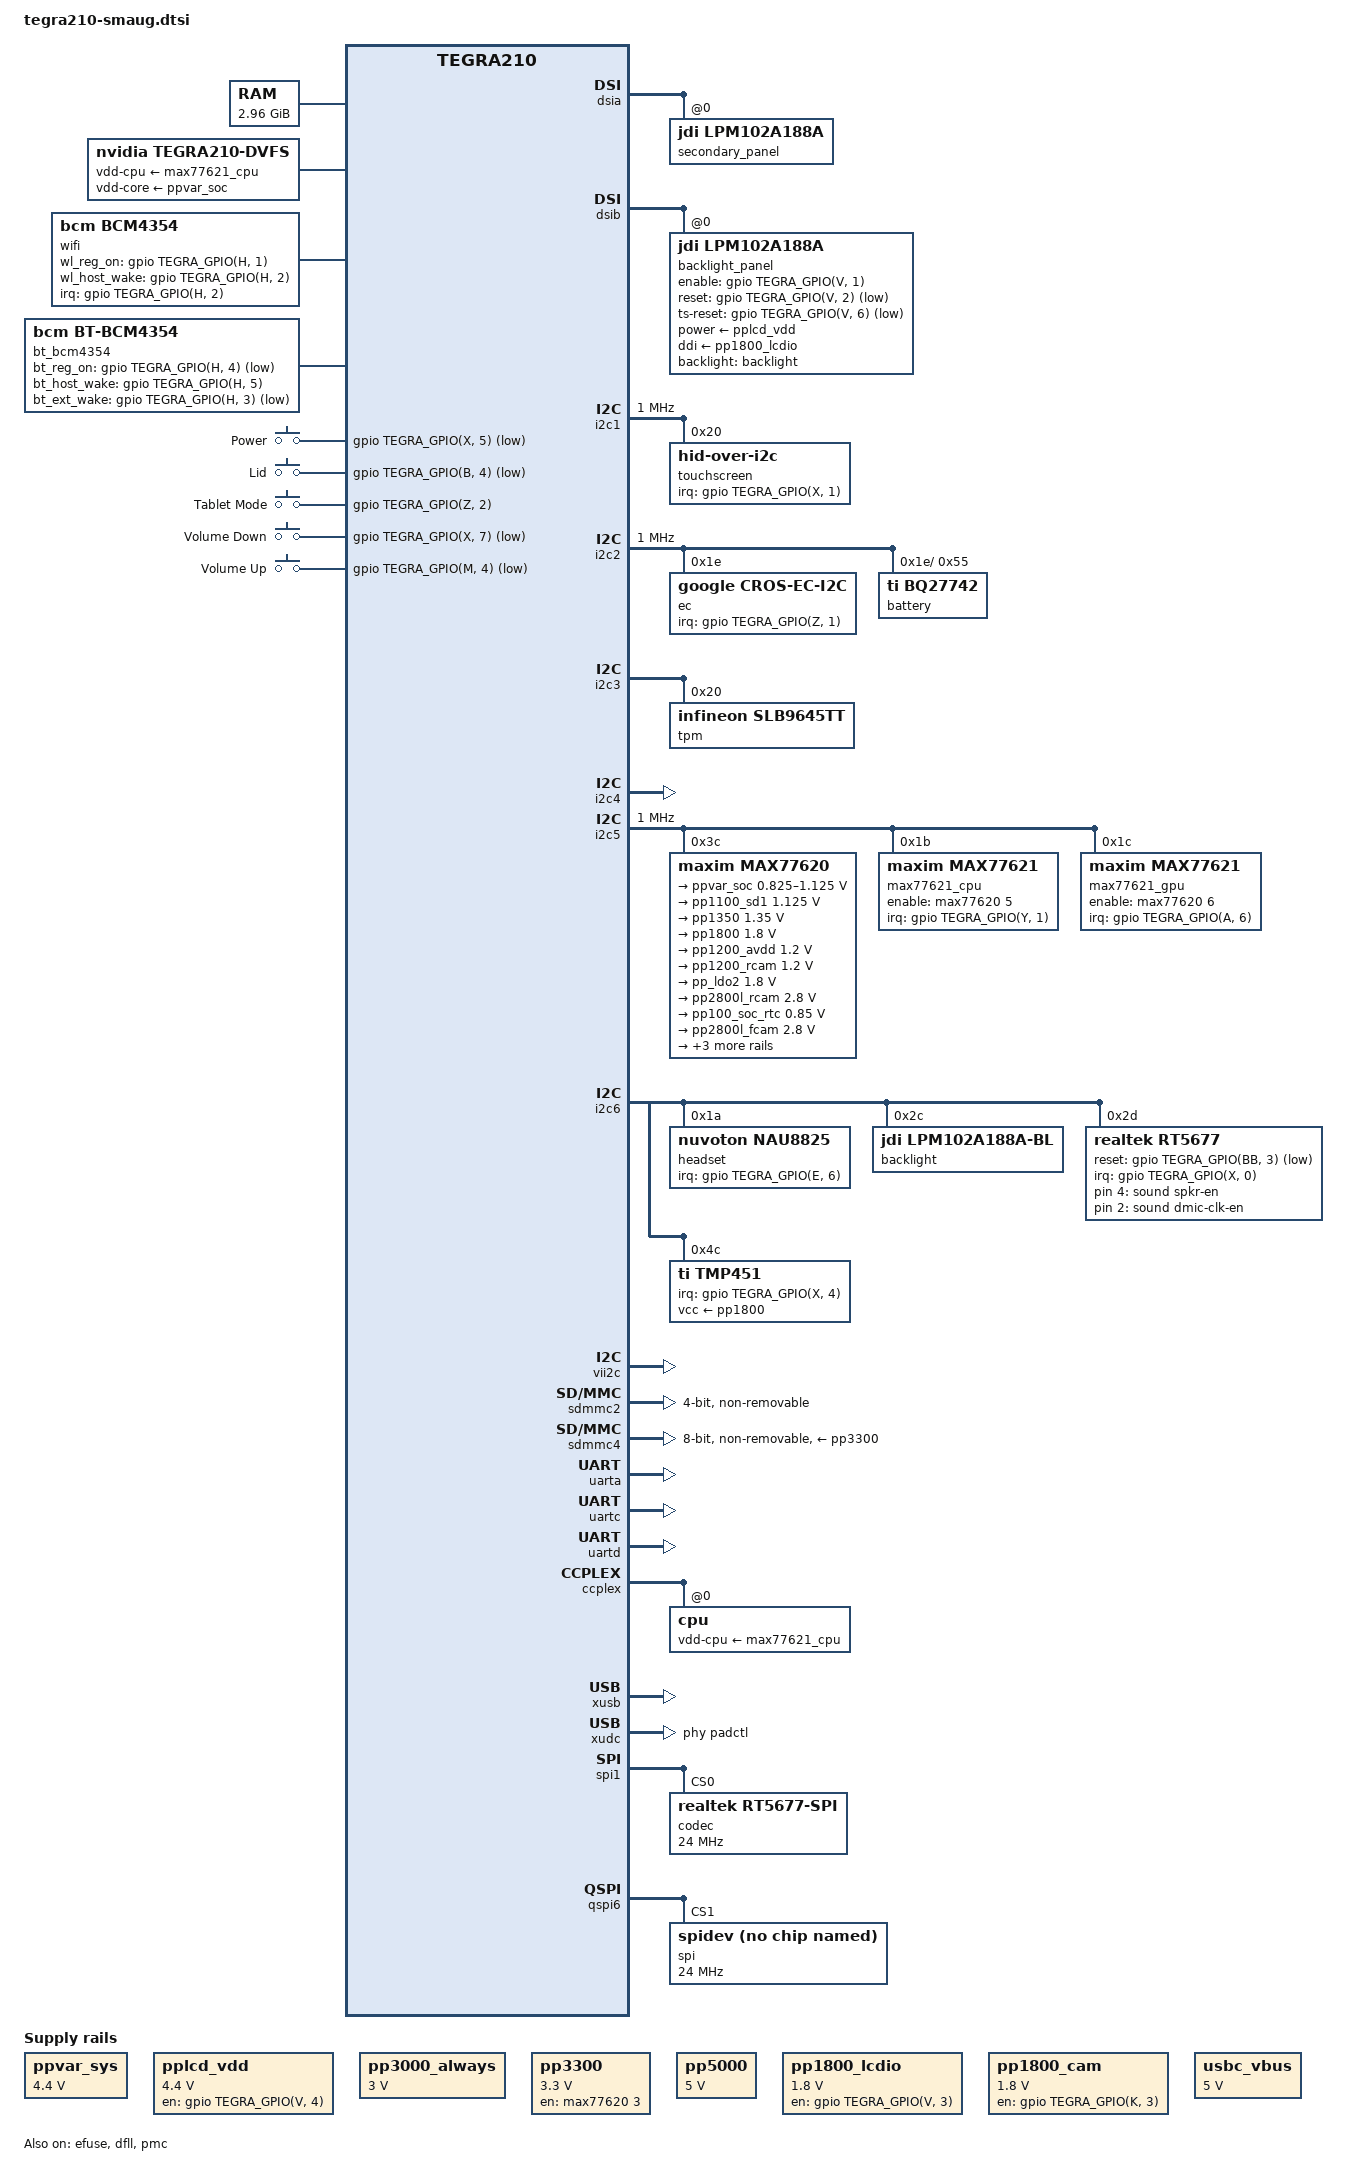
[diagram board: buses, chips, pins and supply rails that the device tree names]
#include <dt-bindings/mfd/max77620.h>
#include <dt-bindings/gpio/tegra-gpio.h>
#include <dt-bindings/pinctrl/pinctrl-tegra.h>
#include <dt-bindings/thermal/thermal.h>
#include <dt-bindings/input/input.h>
#include <dt-bindings/regulator/max8973.h>
#include <dt-bindings/soc/tegra-pmc.h>

#include "tegra210.dtsi"
#include "tegra210-audio.dtsi"
#include "tegra210-smaug-pinmux.dtsi"
#include "tegra210-smaug-sysedp.dtsi"
#include "tegra210-smaug-camera.dtsi"

/ {
	compatible = "google,smaug", "nvidia,tegra210";

        chosen {
		bootargs = "cros_legacy console= init=/init rw ignore_loglevel=1 drm.atomic=1 firmware_class.path=/vendor/firmware kern_guid=%U no_console_suspend";
	};

	memory {
		device_type = "memory";
		/* TODO: replace */
		reg = < 0x0 0x80000000 0x0 0x7d200000 >,
		      < 0x1 0x00000000 0x0 0x40000000 >;
	};

	host1x@50000000 {
		vi: vi@54080000 {
			avdd-dsi-csi-supply = <&pp1200_avdd>;
		};

		dsia: dsi@54300000 {
			status = "okay";
			avdd-dsi-csi-supply = <&pp1200_avdd>;
                        nvidia,mipi-calibrate = <&mipi 0x0c0>; /* DSIA & DSIB pads */
			#address-cells = <2>;
			#size-cells = <2>;

			secondary_panel: panel@0 {
				compatible = "jdi,lpm102a188a";
				reg = <0 0 0 0>;
			};
		};

		dsib: dsi@54400000 {
			status = "okay";
			avdd-dsi-csi-supply = <&pp1200_avdd>;
                        nvidia,mipi-calibrate = <&mipi 0x300>; /* DSIC & DSID pads */
			nvidia,ganged-mode = <&dsia>;
			#address-cells = <2>;
			#size-cells = <2>;

			backlight_panel: panel@0 {
				compatible = "jdi,lpm102a188a";
				reg = <0 0 0 0>;
				power-supply = <&pplcd_vdd>;
				ddi-supply = <&pp1800_lcdio>;
				enable-gpio = <&gpio TEGRA_GPIO(V, 1) GPIO_ACTIVE_HIGH>;
				reset-gpio = <&gpio TEGRA_GPIO(V, 2) GPIO_ACTIVE_LOW>;
				ts-reset-gpio = <&gpio TEGRA_GPIO(V, 6) GPIO_ACTIVE_LOW>;
				backlight = <&backlight>;
				slave = <&secondary_panel>;
				panel-boot-on;
				touch = <&touchscreen>;
			};
		};
	};

	gpu@57000000 {
		status = "okay";
		vdd-supply = <&max77621_gpu>;

		gpu_scaling_cdev: gpu-scaling-cdev {
			status = "okay";
		};

		gpu_balanced_cpu_cdev: gpu-balanced-cpu {
			status = "okay";
		};

		gpu_balanced_gpu_cdev: gpu-balanced-gpu {
			status = "okay";
		};

		gpu_balanced_tskin_cdev: gpu-balanced-tskin {
			status = "okay";
		};

		gpu_edp_cdev: gpu-edp-cdev {
			status = "okay";
		};
	};

	adma: adma@702e2000  {
		interrupts = <GIC_SPI INT_ADMA_EOT0 IRQ_TYPE_LEVEL_HIGH>,
			     <GIC_SPI INT_ADMA_EOT1 IRQ_TYPE_LEVEL_HIGH>,
			     <GIC_SPI INT_ADMA_EOT2 IRQ_TYPE_LEVEL_HIGH>,
			     <GIC_SPI INT_ADMA_EOT3 IRQ_TYPE_LEVEL_HIGH>,
			     <GIC_SPI INT_ADMA_EOT4 IRQ_TYPE_LEVEL_HIGH>,
			     <GIC_SPI INT_ADMA_EOT5 IRQ_TYPE_LEVEL_HIGH>,
			     <GIC_SPI INT_ADMA_EOT6 IRQ_TYPE_LEVEL_HIGH>,
			     <GIC_SPI INT_ADMA_EOT7 IRQ_TYPE_LEVEL_HIGH>,
			     <GIC_SPI INT_ADMA_EOT8 IRQ_TYPE_LEVEL_HIGH>,
			     <GIC_SPI INT_ADMA_EOT9 IRQ_TYPE_LEVEL_HIGH>;
		dma-channels = <10>;
		status = "okay";
	};

	speaker: max98357a {
		compatible = "maxim,max98357a";
		status = "okay";
	};

	sound: sound {
		compatible = "nvidia,tegra-audio-t210ref-mobile-rt5677";
		nvidia,model = "tegra-snd-t210ref-mobile-rt5677";
		nvidia,spkr-en-gpios = <&rt5677 4 GPIO_ACTIVE_HIGH>;
		nvidia,dmic-clk-en-gpios = <&rt5677 2 GPIO_ACTIVE_HIGH>;
		nvidia,num-codec-link = <1>;
		edp-consumer-name = "codec+speaker";

		clocks = <&tegra_car TEGRA210_CLK_PLL_A>,
		         <&tegra_car TEGRA210_CLK_PLL_A_OUT0>,
		         <&tegra_car TEGRA210_CLK_EXTERN1>,
		         <&tegra_car TEGRA210_CLK_CLK_OUT_1>,
		         <&tegra_car TEGRA210_CLK_EXTERN2>,
		         <&tegra_car TEGRA210_CLK_CLK_OUT_2>;
		clock-names = "pll_a", "pll_a_out0", "extern1", "clk_out_1", "extern2", "clk_out_2";

		nvidia,audio-routing =
			"Headphone Jack", "HPOL",
			"Headphone Jack", "HPOR",
			"MICBIAS",  "Mic Jack",
			"MIC", "Mic Jack",
			"DMIC L1", "Int Mic",
			"DMIC R1", "Int Mic",
			"DMIC L2", "Int Mic",
			"DMIC R2", "Int Mic",
			"Int Spk", "Speaker";

		nvidia,xbar = <&tegra_axbar>;

		nvidia,dai-link-1 {
			link-name = "rt5677-playback";
			cpu-dai = <&tegra_i2s1>;
			codec-dai = <&rt5677>;
			cpu-dai-name = "I2S1";
			codec-dai-name = "rt5677-aif1";
			tx-mask = <0xFF>;
			rx-mask = <0xFF>;
			format = "dsp_a";
			bitclock-slave;
			frame-slave;
			bitclock-noninversion;
			frame-inversion;
			bit-format = "s16_le";
			bclk_ratio = <0>;
			srate = <48000>;
			num-channel = <4>;
		};
	};

	dvfs {
		compatible = "nvidia,tegra210-dvfs";
		vdd-cpu-supply = <&max77621_cpu>;
		vdd-core-supply = <&ppvar_soc>;
	};

	wifi: wifi_bcm4354 {
		compatible = "bcm,bcm4354";
		interrupt-parent = <&gpio>;
		interrupts = <TEGRA_GPIO(H, 2) IRQ_TYPE_LEVEL_HIGH>;
		wl_reg_on = <&gpio TEGRA_GPIO(H, 1) GPIO_ACTIVE_HIGH>;
		wl_host_wake = <&gpio TEGRA_GPIO(H, 2) IRQ_TYPE_LEVEL_HIGH>;
		nvidia,pmc-wakeup = <&pmc
			PMC_WAKE_TYPE_EVENT 8 PMC_TRIGGER_TYPE_HIGH>;
	};

	bt_bcm4354 {
		compatible = "bcm,bt-bcm4354";
		bt_reg_on-gpios = <&gpio TEGRA_GPIO(H, 4) GPIO_ACTIVE_LOW>;
		bt_host_wake-gpios = <&gpio TEGRA_GPIO(H, 5) GPIO_ACTIVE_HIGH>;
		bt_ext_wake-gpios = <&gpio TEGRA_GPIO(H, 3) GPIO_ACTIVE_LOW>;
		nvidia,pmc-wakeup = <&pmc
				PMC_WAKE_TYPE_EVENT 52 PMC_TRIGGER_TYPE_HIGH>;
	};

	gpio-keys {
		compatible = "gpio-keys";
		gpio-keys,name = "gpio-keys";

		power {
			label = "Power";
			gpios = <&gpio TEGRA_GPIO(X, 5) GPIO_ACTIVE_LOW>;
			linux,code = <KEY_POWER>;
			debounce-interval = <30>;
			gpio-key,wakeup;
			nvidia,pmc-wakeup = <&pmc
				PMC_WAKE_TYPE_GPIO 24 PMC_TRIGGER_TYPE_NONE>;
		};

		lid {
			label = "Lid";
			gpios = <&gpio TEGRA_GPIO(B, 4) GPIO_ACTIVE_LOW>;
			linux,input-type = <5>; /* EV_SW */
			linux,code = <0>; /* SW_LID */
			gpio-key,wakeup;
			nvidia,pmc-wakeup = <&pmc
				PMC_WAKE_TYPE_GPIO 3 PMC_TRIGGER_TYPE_NONE>;
		};

		tablet_mode {
			label = "Tablet Mode";
			gpios = <&gpio TEGRA_GPIO(Z, 2) GPIO_ACTIVE_HIGH>;
			linux,input-type = <5>; /* EV_SW */
			linux,code = <1>; /* SW_TABLET_MODE */
			gpio-key,wakeup;
			nvidia,pmc-wakeup = <&pmc
				PMC_WAKE_TYPE_GPIO 36 PMC_TRIGGER_TYPE_NONE>;
		};

		volume_down {
			label = "Volume Down";
			gpios = <&gpio TEGRA_GPIO(X, 7) GPIO_ACTIVE_LOW>;
			linux,code = <KEY_VOLUMEDOWN>;
		};

		volume_up {
			label = "Volume Up";
			gpios = <&gpio TEGRA_GPIO(M, 4) GPIO_ACTIVE_LOW>;
			linux,code = <KEY_VOLUMEUP>;
		};
	};

	regulators {
		compatible = "simple-bus";
		device_type = "fixed-regulators";
		#address-cells = <1>;
		#size-cells = <0>;

		ppvar_sys: regulator@0 {
			compatible = "regulator-fixed";
			reg = <0>;
			regulator-name = "PPVAR_SYS";
			regulator-min-microvolt = <4400000>;
			regulator-max-microvolt = <4400000>;
			regulator-always-on;
		};

		pplcd_vdd: regulator@1 {
			compatible = "regulator-fixed";
			reg = <1>;
			regulator-name = "PPLCD_VDD";
			regulator-min-microvolt = <4400000>;
			regulator-max-microvolt = <4400000>;
			gpio = <&gpio TEGRA_GPIO(V, 4) 0>;
			enable-active-high;
			regulator-boot-on;
		};

		pp3000_always: regulator@2 {
			compatible = "regulator-fixed";
			reg = <2>;
			regulator-name = "PP3000_ALWAYS";
			regulator-min-microvolt = <3000000>;
			regulator-max-microvolt = <3000000>;
			regulator-always-on;
		};

		pp3300: regulator@3 {
			compatible = "regulator-fixed";
			reg = <3>;
			regulator-name = "PP3300";
			regulator-min-microvolt = <3300000>;
			regulator-max-microvolt = <3300000>;
			regulator-boot-on;
			regulator-always-on;
			gpio = <&max77620 3 0>;
			enable-active-high;
		};

		pp5000: regulator@4 {
			compatible = "regulator-fixed";
			reg = <4>;
			regulator-name = "PP5000";
			regulator-min-microvolt = <5000000>;
			regulator-max-microvolt = <5000000>;
			regulator-always-on;
		};

		pp1800_lcdio: regulator@5 {
			compatible = "regulator-fixed";
			reg = <5>;
			regulator-name = "PP1800_LCDIO";
			regulator-min-microvolt = <1800000>;
			regulator-max-microvolt = <1800000>;
			gpio = <&gpio TEGRA_GPIO(V, 3) 0>;
			enable-active-high;
			regulator-boot-on;
		};

		pp1800_cam: regulator@6 {
			compatible = "regulator-fixed";
			reg= <6>;
			regulator-name = "PP1800_CAM";
			regulator-min-microvolt = <1800000>;
			regulator-max-microvolt = <1800000>;
			gpio = <&gpio TEGRA_GPIO(K, 3) 0>;
			enable-active-high;
		};

		usbc_vbus: regulator@7 {
			compatible = "regulator-fixed";
			reg = <7>;
			regulator-name = "USBC_VBUS";
			regulator-min-microvolt = <5000000>;
			regulator-max-microvolt = <5000000>;
		};
	};

	cpu_edp: cpu-edp {
		nvidia,edp-limit = <16000>;
	};

	gpu_edp: gpu-edp {
		nvidia,edp-limit = <16000>;
	};

	thermal-zones {
		cpu {
			trips {
				balanced_cpu_trip0: balanced_cpu_trip {
					temperature = <89000>;
					hysteresis = <1000>;
					type = "passive";
				};
			};

			cooling-maps {
				balanced_cpu_map0 {
					trip = <&balanced_cpu_trip0>;
					cooling-device = <&balanced_cpu THERMAL_NO_LIMIT THERMAL_NO_LIMIT>;
				};

				balanced_cpu_map1 {
					trip = <&balanced_cpu_trip0>;
					cooling-device = <&gpu_balanced_cpu_cdev THERMAL_NO_LIMIT THERMAL_NO_LIMIT>;
				};
			};
		};

		gpu {
			trips {
				balanced_gpu_trip0: balanced_gpu_trip {
					temperature = <90000>;
					hysteresis = <1000>;
					type = "passive";
				};

				/* trips for gpu DVFS voltage scaling */
				gpu_scaling_trip0: gpu_scaling_trip0 {
					temperature = <TEGRA210_GPU_DVFS_THERMAL_TRIP_0>; /* millicelsius */
					hysteresis = <1000>; /* millicelsius */
					type = "active";
				};
				gpu_scaling_trip1: gpu_scaling_trip1 {
					temperature = <TEGRA210_GPU_DVFS_THERMAL_TRIP_1>; /* millicelsius */
					hysteresis = <1000>; /* millicelsius */
					type = "active";
				};
				gpu_scaling_trip2: gpu_scaling_trip2 {
					temperature = <TEGRA210_GPU_DVFS_THERMAL_TRIP_2>; /* millicelsius */
					hysteresis = <1000>; /* millicelsius */
					type = "active";
				};
				gpu_scaling_trip3: gpu_scaling_trip3 {
					temperature = <TEGRA210_GPU_DVFS_THERMAL_TRIP_3>; /* millicelsius */
					hysteresis = <1000>; /* millicelsius */
					type = "active";
				};
			};

			cooling-maps {
				balanced_gpu_map0 {
					trip = <&balanced_gpu_trip0>;
					cooling-device = <&balanced_gpu THERMAL_NO_LIMIT THERMAL_NO_LIMIT>;
				};

				balanced_gpu_map1 {
					trip = <&balanced_gpu_trip0>;
					cooling-device = <&gpu_balanced_gpu_cdev THERMAL_NO_LIMIT THERMAL_NO_LIMIT>;
				};

				/* cooling maps for gpu DVFS voltage scaling */
				gpu_scaling_map0 {
					trip = <&gpu_scaling_trip0>;
					cooling-device = <&gpu_scaling_cdev 1 1>;
				};
				gpu_scaling_map1 {
					trip = <&gpu_scaling_trip1>;
					cooling-device = <&gpu_scaling_cdev 2 2>;
				};
				gpu_scaling_map2 {
					trip = <&gpu_scaling_trip2>;
					cooling-device = <&gpu_scaling_cdev 3 3>;
				};
				gpu_scaling_map3 {
					trip = <&gpu_scaling_trip3>;
					cooling-device = <&gpu_scaling_cdev 4 4>;
				};
			};
		};
	};

	soctherm: soctherm@0,700e2000 {
		throttle-cfgs {
			/* Voltage compartor NCS2202 connect to OC1 */
			oc1 {
				alarm-filter = <5100000>;
				alarm-cnt-threshold = <100>;
				polarity = <1>; /* ACTIVE_LOW */
				priority = <70>;
				cpu-throt-depth = <75>;
				gpu-throt-level = <TEGRA_SOCTHERM_THROT_LEVEL_MED>;
			};
		};
	};

	skin_temp: therm-est {
		compatible = "nvidia,tegra124-therm-est";
		toffset = <(-1832)>;
		polling-period = <1100>;

		#thermal-sensor-cells = <0>;

		status = "okay";

		sub-devs {
			dev@0 {
				dev = <&diode_thermal_sensor>;
				coeffs = <6 0 (-1) 0 0 (-1) (-1) 0 0 (-1) 0 (-1) (-2) 0 1 2 1 3 1 (-18)>;
			};

			dev@1 {
				dev = <&board_thermal_sensor>;
				coeffs = <23 12 3 1 3 2 2 (-1) 0 0 (-1) (-2) 2 1 (-1) (-4) (-5) (-6) 9 83>;
			};
		};
	};

	thermal-zones {
		board_thermal_sensor: tmp451-local {
			polling-delay-passive = <2000>; /* milliseconds */
			polling-delay = <0>; /* milliseconds */

			thermal-sensors = <&tmp451 0>;
		};

		diode_thermal_sensor: tmp451-remote {
			polling-delay-passive = <1000>; /* milliseconds */
			polling-delay = <0>; /* milliseconds */

			thermal-sensors = <&tmp451 1>;
		};

		skin-therm {
			polling-delay-passive = <6000>; /* milliseconds */
			polling-delay = <0>; /* milliseconds */

			thermal-sensors = <&skin_temp>;

			trips {
				balanced_tskin_trip: balanced_tskin_trip {
					temperature = <43000>;
					hysteresis = <1000>;
					type = "passive";
				};
			};

			cooling-maps {
				balanced_tskin_map0 {
					trip = <&balanced_tskin_trip>;
					cooling-device = <&balanced_tskin THERMAL_NO_LIMIT THERMAL_NO_LIMIT>;
				};

				balanced_tskin_map1 {
					trip = <&balanced_tskin_trip>;
					cooling-device = <&gpu_balanced_tskin_cdev THERMAL_NO_LIMIT THERMAL_NO_LIMIT>;
				};
			};
		};

		max77621-cpu {
			polling-delay-passive = <0>; /* milliseconds */
			polling-delay = <0>; /* milliseconds */

			thermal-sensors = <&max77621_cpu>;
		};

		max77621-gpu {
			polling-delay-passive = <0>; /* milliseconds */
			polling-delay = <0>; /* milliseconds */

			thermal-sensors = <&max77621_gpu>;
		};
	};

	tlk {
		compatible = "nvidia,trusted-little-kernel";
		logger = "enabled";
		storage = "enabled";
	};

	ion-tegra {
		compatible = "nvidia,tegra210-ion-heaps";
	};

	balanced_tskin: balanced_tskin {
		compatible = "nvidia,balanced-throttle";
		clocks = <&tegra_car TEGRA210_CLK_CAP_THROTTLE_C3BUS>,
			 <&tegra_car TEGRA210_CLK_CAP_THROTTLE_SCLK>,
			 <&tegra_car TEGRA210_CLK_CAP_THROTTLE_EMC>;
		clock-names = "cap.throttle.c3bus", "cap.throttle.sclk", "cap.throttle.emc";

		balanced-states = <&t210_tskin_throttling_state>;

		#cooling-cells = <2>; /* min followed by max */
	};
};

// GEN1_I2C
&i2c1 {
	status = "okay";
	clock-frequency = <1000000>;

	touchscreen: i2c-hid-dev@20 {
		compatible = "hid-over-i2c";
		reg = <0x20>;
		status = "okay";
		hid-descr-addr = <0x0020>;
		interrupt-parent = <&gpio>;
		interrupts = <TEGRA_GPIO(X, 1) IRQ_TYPE_EDGE_FALLING>;
	};
};

// GEN2_I2C
&i2c2 {
	status = "okay";
	clock-frequency = <1000000>;

	ec@1e {
		compatible = "google,cros-ec-i2c";
		reg = <0x1e>;
		interrupt-parent = <&gpio>;
		interrupts = <TEGRA_GPIO(Z, 1) IRQ_TYPE_LEVEL_LOW>;
		wakeup-source;
		nvidia,pmc-wakeup = <&pmc
				PMC_WAKE_TYPE_EVENT 35 PMC_TRIGGER_TYPE_LOW>;

		ec_i2c_0: i2c-tunnel {
			compatible = "google,cros-ec-i2c-tunnel";
			#address-cells = <1>;
			#size-cells = <0>;

			google,remote-bus = <0>;

			battery: bq27742@55 {
				compatible = "ti,bq27742";
				reg = <0x55>;
				battery-name = "battery";
			};
		};

		usbc_extcon: extcon {
			compatible = "google,extcon-cros-ec";

			#extcon-cells = <0>;
		};

		pdupdate {
			compatible = "google,cros-ec-pd-update";
		};
	};
};

// GEN3_I2C
&i2c3 {
	status = "okay";

	tpm@20 {
		compatible = "infineon,slb9645tt";
		reg = <0x20>;
		powered-while-suspended;
		status = "okay";
	};
};

&i2c4 {
	status = "okay";
};

// PWR_I2C, I2CPMU
&i2c5 {
	status = "okay";
	clock-frequency = <1000000>;

	max77620: max77620@3c {
		compatible = "maxim,max77620";
		reg = <0x3c>;
		interrupts = <0 86 IRQ_TYPE_NONE>;
		nvidia,pmc-wakeup = <&pmc
				PMC_WAKE_TYPE_EVENT 51 PMC_TRIGGER_TYPE_LOW>;

		#interrupt-cells = <2>;
		interrupt-controller;

		gpio-controller;
		#gpio-cells = <2>;

		maxim,enable-clock32k-out;
		maxim,system-pmic-power-off;

		maxim,hot-die-threshold-temp = <110000>;
		#thermal-sensor-cells = <0>;

		pinctrl-names = "default";
		pinctrl-0 = <&max77620_default>;

		maxim,lb-threshold-vol = <3000>;

		max77620_default: pinmux@0 {
			// TODO: Verify
			pin_gpio {
				pins = "gpio0", "gpio1", "gpio2", "gpio5",
				       "gpio6", "gpio7";
				function = "gpio";
			};

			/*
			 * GPIO3 is used to en_pp3300, and it is part of power
			 * sequence, So it must be sequenced up (automatically
			 * set by OTP) and down properly.
			 */
			pin_gpio3 {
				pins = "gpio3";
				function = "fps-out";
				drive-open-drain = <1>;
				maxim,fps-source = <FPS_SRC_0>;
				maxim,fps-power-up-period = <4>;
				maxim,fps-power-down-period = <2>;
			};

			pin_gpio5_6_7 {
				pins = "gpio5", "gpio6";
				function = "gpio";
				drive-push-pull = <1>;
			};

			pin_32k {
				pins = "gpio4";
				function = "32k-out1";
			};
		};

		watchdog {
			maxim,wdt-timeout = <16>;
			maxim,wdt-clear-time = <13>;
			status = "disabled";
		};

		fps {
			// TODO: Verify
			#address-cells = <1>;
			#size-cells = <0>;
			fps@0 {
				reg = <0>;
				maxim,fps-time-period = <5120>;
				maxim,fps-enable-input = <FPS_EN_SRC_EN0>;
			};

			fps@1 {
				reg = <1>;
				maxim,fps-time-period = <5120>;
				maxim,fps-enable-input = <FPS_EN_SRC_EN1>;
				maxim,enable-sleep;
			};

			fps@2 {
				reg = <2>;
				maxim,fps-enable-input = <FPS_EN_SRC_EN0>;
			};
		};

		backup-battery {
			// TODO: Verify
			maxim,backup-battery-charging-current = <100>;
			maxim,backup-battery-charging-voltage = <3000000>;
			maxim,backup-battery-output-resistor = <100>;
		};

		regulators {
			/*
			 * TODO: Verify ramps, FPS, boot-on, always-on
			 * and DVFS voltage ranges.
			 */

			in-ldo0-1-supply = <&pp1350>;
			in-ldo2-supply = <&pp3300>;
			in-ldo3-5-supply = <&pp3300>;
			in-ldo7-8-supply = <&pp1350>;

			ppvar_soc: sd0 {
				regulator-name = "PPVAR_SOC";
				regulator-min-microvolt = <825000>;
				regulator-max-microvolt = <1125000>;
				regulator-enable-ramp-delay = <146>;
				regulator-disable-ramp-delay = <4080>;
				regulator-ramp-delay = <27500>;
				regulator-ramp-delay-scale = <300>;
				regulator-always-on;
				regulator-boot-on;
				maxim,fps-source = <FPS_SRC_1>;
				maxim,fps-power-up-period = <1>;
				maxim,fps-power-down-period = <7>;
			};

			pp1100_sd1: sd1 {
				regulator-name = "PP1100";
				regulator-min-microvolt = <1125000>;
				regulator-max-microvolt = <1125000>;
				regulator-enable-ramp-delay = <130>;
				regulator-disable-ramp-delay = <145800>;
				regulator-ramp-delay = <27500>;
				regulator-ramp-delay-scale = <300>;
				regulator-always-on;
				regulator-boot-on;
				maxim,fps-source = <FPS_SRC_0>;
				maxim,fps-power-up-period = <5>;
				maxim,fps-power-down-period = <1>;
			};

			pp1350: sd2 {
				regulator-name = "PP1350";
				regulator-min-microvolt = <1350000>;
				regulator-max-microvolt = <1350000>;
				regulator-enable-ramp-delay = <176>;
				regulator-disable-ramp-delay = <32000>;
				regulator-ramp-delay = <27500>;
				regulator-ramp-delay-scale = <350>;
				regulator-always-on;
				regulator-boot-on;
				maxim,fps-source = <FPS_SRC_NONE>;
				maxim,fps-power-up-period = <2>;
				maxim,fps-power-down-period = <5>;
			};

			pp1800: sd3 {
				regulator-name = "PP1800";
				regulator-min-microvolt = <1800000>;
				regulator-max-microvolt = <1800000>;
				regulator-enable-ramp-delay = <242>;
				regulator-disable-ramp-delay = <118000>;
				regulator-ramp-delay = <27500>;
				regulator-ramp-delay-scale = <360>;
				regulator-always-on;
				regulator-boot-on;
				maxim,fps-source = <FPS_SRC_0>;
				maxim,fps-power-up-period = <3>;
				maxim,fps-power-down-period = <3>;
			};

			pp1200_avdd: ldo0 {
				regulator-name = "PP1200_AVDD";
				regulator-min-microvolt = <1200000>;
				regulator-max-microvolt = <1200000>;
				regulator-enable-ramp-delay = <26>;
				regulator-disable-ramp-delay = <626>;
				regulator-ramp-delay = <100000>;
				regulator-ramp-delay-scale = <200>;
				regulator-boot-on;
				maxim,fps-source = <FPS_SRC_NONE>;
				maxim,fps-power-up-period = <0>;
				maxim,fps-power-down-period = <7>;
			};

			pp1200_rcam: ldo1 {
				regulator-name = "PP1200_RCAM";
				regulator-min-microvolt = <1200000>;
				regulator-max-microvolt = <1200000>;
				regulator-enable-ramp-delay = <22>;
				regulator-disable-ramp-delay = <630>;
				regulator-ramp-delay = <100000>;
				regulator-ramp-delay-scale = <200>;
				maxim,fps-source = <FPS_SRC_NONE>;
				maxim,fps-power-up-period = <0>;
				maxim,fps-power-down-period = <7>;
			};

			pp_ldo2: ldo2 {
				regulator-name = "PP_LDO2";
				regulator-min-microvolt = <1800000>;
				regulator-max-microvolt = <1800000>;
				regulator-enable-ramp-delay = <62>;
				regulator-disable-ramp-delay = <650>;
				regulator-ramp-delay = <100000>;
				regulator-ramp-delay-scale = <200>;
				regulator-always-on;
				regulator-boot-on;
				maxim,fps-source = <FPS_SRC_NONE>;
				maxim,fps-power-up-period = <0>;
				maxim,fps-power-down-period = <7>;
			};

			pp2800l_rcam: ldo3 {
				regulator-name = "PP2800L_RCAM";
				regulator-min-microvolt = <2800000>;
				regulator-max-microvolt = <2800000>;
				regulator-enable-ramp-delay = <50>;
				regulator-disable-ramp-delay = <1110>;
				regulator-ramp-delay = <100000>;
				regulator-ramp-delay-scale = <200>;
				maxim,fps-source = <FPS_SRC_NONE>;
				maxim,fps-power-up-period = <0>;
				maxim,fps-power-down-period = <7>;
			};

			pp100_soc_rtc: ldo4 {
				regulator-name = "PP1100_SOC_RTC";
				regulator-min-microvolt = <850000>;
				regulator-max-microvolt = <850000>;
				regulator-enable-ramp-delay = <22>;
				regulator-disable-ramp-delay = <610>;
				regulator-ramp-delay = <100000>;
				regulator-ramp-delay-scale = <200>;
				regulator-always-on; /* Check this */
				regulator-boot-on;
				maxim,fps-source = <FPS_SRC_0>;
				maxim,fps-power-up-period = <1>;
				maxim,fps-power-down-period = <7>;
			};

			pp2800l_fcam: ldo5 {
				regulator-name = "PP2800L_FCAM";
				regulator-min-microvolt = <2800000>;
				regulator-max-microvolt = <2800000>;
				regulator-enable-ramp-delay = <62>;
				regulator-disable-ramp-delay = <640>;
				regulator-ramp-delay = <100000>;
				regulator-ramp-delay-scale = <200>;
				maxim,fps-source = <FPS_SRC_NONE>;
				maxim,fps-power-up-period = <0>;
				maxim,fps-power-down-period = <7>;
			};

			ldo6 {
				/* Unused. */
				regulator-name = "PP_LDO6";
				regulator-min-microvolt = <1800000>;
				regulator-max-microvolt = <1800000>;
				regulator-enable-ramp-delay = <36>;
				regulator-disable-ramp-delay = <674>;
				regulator-ramp-delay = <100000>;
				regulator-ramp-delay-scale = <200>;
				maxim,fps-source = <FPS_SRC_NONE>;
				maxim,fps-power-up-period = <0>;
				maxim,fps-power-down-period = <7>;
			};

			pp1050_avdd: ldo7 {
				regulator-name = "PP1050_AVDD";
				regulator-min-microvolt = <1050000>;
				regulator-max-microvolt = <1050000>;
				regulator-enable-ramp-delay = <24>;
				regulator-disable-ramp-delay = <2768>;
				regulator-ramp-delay = <100000>;
				regulator-ramp-delay-scale = <200>;
				regulator-always-on;
				regulator-boot-on;
				maxim,fps-source = <FPS_SRC_1>;
				maxim,fps-power-up-period = <3>;
				maxim,fps-power-down-period = <4>;
			};

			avddio_1v05: ldo8 {
				regulator-name = "AVDDIO_1V05";
				regulator-min-microvolt = <1050000>;
				regulator-max-microvolt = <1050000>;
				regulator-enable-ramp-delay = <22>;
				regulator-disable-ramp-delay = <1160>;
				regulator-ramp-delay = <100000>;
				regulator-ramp-delay-scale = <200>;
				regulator-boot-on;
				maxim,fps-source = <FPS_SRC_NONE>;
				maxim,fps-power-up-period = <0>;
				maxim,fps-power-down-period = <7>;
			};
		};
	};

	max77621_cpu: pmic@1b {
		compatible = "maxim,max77621";
		reg = <0x1b>;
		interrupt-parent = <&gpio>;
		interrupts = <TEGRA_GPIO(Y, 1) IRQ_TYPE_LEVEL_LOW>;
		regulator-name = "PPVAR_CPU";
		regulator-min-microvolt = <800000>;
		regulator-max-microvolt = <1231250>;
		regulator-ramp-delay = <12500>;
		maxim,externally-enable;
		maxim,enable-gpio = <&max77620 5 0>;
		maxim,dvs-default-state = <1>;
		regulator-always-on;
		maxim,enable-active-discharge;
		maxim,enable-bias-control;
		maxim,enable-etr;
		maxim,watchdog-timer-enable;
		maxim,pull-down-enable;
		maxim,inductor-value = <MAX8973_INDUCTOR_VAL_PLUS_30_PER>;

		#thermal-sensor-cells = <0>;
	};

	max77621_gpu: pmic@1c {
		compatible = "maxim,max77621";
		reg = <0x1c>;
		interrupt-parent = <&gpio>;
		interrupts = <TEGRA_GPIO(A, 6) IRQ_TYPE_LEVEL_LOW>;
		regulator-name = "PPVAR_GPU";
		regulator-min-microvolt = <840000>;
		regulator-max-microvolt = <1150000>;
		regulator-ramp-delay = <12500>;
		maxim,externally-enable;
		maxim,enable-gpio = <&max77620 6 0>;
		maxim,dvs-default-state = <1>;
		maxim,disable-etr;
		maxim,enable-active-discharge;
		maxim,enable-bias-control;
		maxim,pull-down-enable;
		maxim,watchdog-timer-enable;
		maxim,inductor-value = <MAX8973_INDUCTOR_VAL_PLUS_30_PER>;

		#thermal-sensor-cells = <0>;
	};
};

// I2C6
&i2c6 {
	status = "okay";

	headset: nau8825@1a {
		compatible = "nuvoton,nau8825";
		reg = <0x1a>;
		interrupt-parent = <&gpio>;
		interrupts = <TEGRA_GPIO(E, 6) IRQ_TYPE_LEVEL_LOW>;

		nuvoton,jkdet-enable;
		nuvoton,jkdet-polarity = <GPIO_ACTIVE_LOW>;

		nuvoton,vref-impedance = <2>;
		nuvoton,micbias-voltage = <6>;
		// Setup 4 buttons impedane according to Android specification
		nuvoton,sar-threshold-num = <4>;
		nuvoton,sar-threshold = <0xc 0x1e 0x38 0x60>;
		nuvoton,sar-hysteresis = <1>;
		nuvoton,sar-voltage = <0>;
		nuvoton,sar-compare-time = <0>;
		nuvoton,sar-sampling-time = <0>;
		nuvoton,short-key-debounce = <2>;
		nuvoton,jack-insert-debounce = <7>;
		nuvoton,jack-eject-debounce = <7>;
	};

	backlight: jdi-lpm102a188a@2c {
		compatible = "jdi,lpm102a188a-bl";
		reg = <0x2c>;
	};

	rt5677: audio-codec@2d {
		compatible = "realtek,rt5677";
		reg = <0x2d>;
		interrupts-extended = <&gpio TEGRA_GPIO(X, 0) IRQ_TYPE_LEVEL_HIGH>;
		realtek,reset-gpio = <&gpio TEGRA_GPIO(BB, 3) GPIO_ACTIVE_LOW>;
		nvidia,pmc-wakeup = <&pmc PMC_WAKE_TYPE_EVENT 61
				     PMC_TRIGGER_TYPE_HIGH>;

		// Workaround for hissing problem b/24679173
		realtek,i2s1-pulldown;

		gpio-controller;
		#gpio-cells = <2>;
		status = "ok";
	};

	tmp451: temperature-sensor@4c {
		compatible = "ti,tmp451";
		reg = <0x4c>;
		interrupt-parent = <&gpio>;
		interrupts = <TEGRA_GPIO(X, 4) IRQ_TYPE_LEVEL_LOW>;
		vcc-supply = <&pp1800>;

		#thermal-sensor-cells = <1>;
	};
};

// CAM_I2C
&vii2c {
	avdd-supply = <&pp1200_avdd>;
	status = "okay";
};

&efuse {
	status = "okay";
	vpp_fuse-supply = <&pp1800>;
};

&dfll {
	vdd-cpu-supply = <&max77621_cpu>;
	nvidia,i2c-fs-rate = <400000>;
	status = "okay";
};

&sdmmc2 {
	power-gpios = <&gpio TEGRA_GPIO(H, 1) GPIO_ACTIVE_HIGH>;
	bus-width = <4>;
	keep-power-in-suspend;
	non-removable;
	nvidia,pu-1v8-offset = <0x05>;
	nvidia,pd-1v8-offset = <0x05>;
	nvidia,trim-delay = <8>;
	nvidia,tap-delay = <0>;
	status = "okay";
};

&sdmmc4 {
	bus-width = <8>;
	non-removable;
	vmmc-supply = <&pp3300>;
	nvidia,pu-1v8-offset = <0x05>;
	nvidia,pd-1v8-offset = <0x05>;
	nvidia,trim-delay = <8>;
	nvidia,tap-delay = <0>;
	status = "okay";
};

&uarta {
	status = "okay";
};


&uartc {
	compatible = "nvidia,tegra210-hsuart", "nvidia,tegra30-hsuart";
	status = "okay";
};

&uartd {
	compatible = "nvidia,tegra124-hsuart", "nvidia,tegra30-hsuart";
	status = "okay";
};

&pmc {
	status = "okay";
	nvidia,invert-interrupt;
	nvidia,suspend-mode = <0>;
	nvidia,cpu-pwr-good-time = <0>;
	nvidia,cpu-pwr-off-time = <0>;
	nvidia,core-pwr-good-time = <12000 6000>;
	nvidia,core-pwr-off-time = <39053>;
	nvidia,core-power-req-active-high;
	nvidia,sys-clock-req-active-high;
	nvidia,pmc-clk1-out-en;
	nvidia,pmc-clk1-out-src = <PMC_CLK_OUT_SRC_OSC_DIV_2>;
	#nvidia,wake-cells = <3>;

	bootrom-i2c {
		command-block-0 {
			nvidia,i2c-controller-id = <4>;
			nvidia,pinmux-id = <0>;
			nvidia,bus-addr = <0x3c>;
			/* Set PPVAR_SOC to 1.0V */
			nvidia,reg-addr = <0x16>, <0x1b>;
			nvidia,reg-data = <0x20>, <0x20>;
		};
		command-block-1 {
			nvidia,i2c-controller-id = <4>;
			nvidia,pinmux-id = <0>;
			nvidia,bus-addr = <0x68>;
			/* Set RTCSECA2 to 0x1 to indicate a warm boot */
			nvidia,reg-addr = <0x15>, <0x04>;
			nvidia,reg-data = <0x01>, <0x0b>;
		};
	};
};

&ccplex {
	cpu@0 {
		vdd-cpu-supply = <&max77621_cpu>;
	};
};

&xusb {
	status = "okay";

	usb-host@0,70090000 {
		phys = <&padctl TEGRA_XUSB_PADCTL_UTMI_P0>,
		       <&padctl TEGRA_XUSB_PADCTL_USB3_P0>;
		phy-names = "utmi-0", "usb3-0";
		dvddio-pex-supply = <&avddio_1v05>;
		hvddio-pex-supply = <&pp1800>;
		avdd-usb-supply = <&pp3300>;
		avdd-pll-utmip-supply = <&pp1800>;
		avdd-pll-uerefe-supply = <&pp1050_avdd>;
		dvdd-usb-ss-pll-supply = <&avddio_1v05>;
		hvdd-usb-ss-pll-e-supply = <&pp1800>;
		extcon-cables = <&usbc_extcon>;
		extcon-cable-names = "data-role";
		nvidia,pmc-wakeup =
			<&pmc PMC_WAKE_TYPE_EVENT 39 PMC_TRIGGER_TYPE_HIGH>,
			<&pmc PMC_WAKE_TYPE_EVENT 44 PMC_TRIGGER_TYPE_HIGH>;
	};
};

&xudc {
	status = "okay";

	phys = <&padctl TEGRA_XUSB_PADCTL_UTMI_P0>,
	       <&padctl TEGRA_XUSB_PADCTL_USB3_P0>;
	phy-names = "utmi", "usb3";
	avdd-usb-supply = <&pp3300>;
	dvddio-pex-supply = <&avddio_1v05>;
	hvddio-pex-supply = <&pp1800>;
	avdd-pll-utmip-supply = <&pp1800>;
	dvdd-usb-ss-pll-supply = <&avddio_1v05>;
	hvdd-usb-ss-pll-e-supply = <&pp1800>;
	extcon-cables = <&usbc_extcon>;
	extcon-cable-names = "data-role";
};

&padctl {
	pinctrl-0 = <&padctl_default>;
	pinctrl-names = "default";

	padctl_default: pinmux {
		otg {
			nvidia,lanes = "otg-0";
			nvidia,function = "xusb";
			nvidia,otg-hs-curr-level-offset = <(-4)>;
		};

		usb3 {
			nvidia,lanes = "pcie-6";
			nvidia,function = "usb3";
			nvidia,iddq = <0>;
		};
	};

	padctl_usb_device: device-pinmux {
		otg {
			nvidia,lanes = "otg-0";
			nvidia,function = "snps";
		};
	};

	phys {
		utmi-0 {
			vbus-supply = <&usbc_vbus>;
			dr_mode = "otg";
		};

		usb3-0 {
			nvidia,lanes = "pcie-6";
			nvidia,port = <0>;
		};
	};
};

&spi1 {
	status = "okay";
	codec@0 {
		compatible = "realtek,rt5677-spi";
		reg = <0>;
		spi-max-frequency = <24000000>;
	};
};

&qspi6 {
	status = "okay";
	spi@0 {
		compatible = "spidev";
		reg = <1>;
		spi-max-frequency = <24000000>;

		controller-data {
			nvidia,x1-len-limit = <16>;
			nvidia,x1-bus-speed = <24000000>;
			nvidia,x1-dummy-cycle = <0>;
			nvidia,x4-bus-speed = <24000000>;
			nvidia,x4-dummy-cycle = <8>;
		};
	};
};
